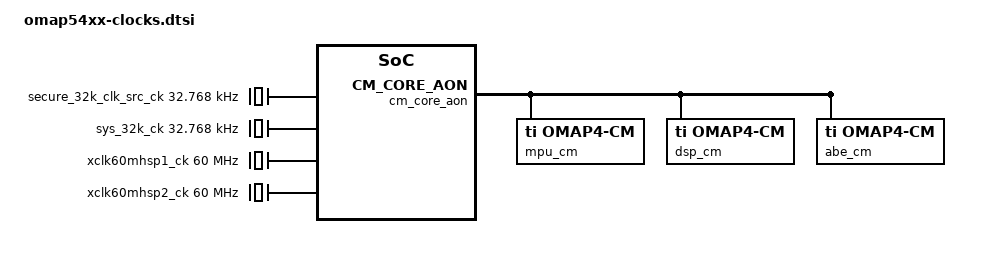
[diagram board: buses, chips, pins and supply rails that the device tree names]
/*
 * Device Tree Source for OMAP5 clock data
 *
 * Copyright (C) 2013 Texas Instruments, Inc.
 *
 * This program is free software; you can redistribute it and/or modify
 * it under the terms of the GNU General Public License version 2 as
 * published by the Free Software Foundation.
 */
&cm_core_aon_clocks {
	pad_clks_src_ck: pad_clks_src_ck {
		#clock-cells = <0>;
		compatible = "fixed-clock";
		clock-frequency = <12000000>;
	};

	pad_clks_ck: pad_clks_ck@108 {
		#clock-cells = <0>;
		compatible = "ti,gate-clock";
		clocks = <&pad_clks_src_ck>;
		ti,bit-shift = <8>;
		reg = <0x0108>;
	};

	secure_32k_clk_src_ck: secure_32k_clk_src_ck {
		#clock-cells = <0>;
		compatible = "fixed-clock";
		clock-frequency = <32768>;
	};

	slimbus_src_clk: slimbus_src_clk {
		#clock-cells = <0>;
		compatible = "fixed-clock";
		clock-frequency = <12000000>;
	};

	slimbus_clk: slimbus_clk@108 {
		#clock-cells = <0>;
		compatible = "ti,gate-clock";
		clocks = <&slimbus_src_clk>;
		ti,bit-shift = <10>;
		reg = <0x0108>;
	};

	sys_32k_ck: sys_32k_ck {
		#clock-cells = <0>;
		compatible = "fixed-clock";
		clock-frequency = <32768>;
	};

	virt_12000000_ck: virt_12000000_ck {
		#clock-cells = <0>;
		compatible = "fixed-clock";
		clock-frequency = <12000000>;
	};

	virt_13000000_ck: virt_13000000_ck {
		#clock-cells = <0>;
		compatible = "fixed-clock";
		clock-frequency = <13000000>;
	};

	virt_16800000_ck: virt_16800000_ck {
		#clock-cells = <0>;
		compatible = "fixed-clock";
		clock-frequency = <16800000>;
	};

	virt_19200000_ck: virt_19200000_ck {
		#clock-cells = <0>;
		compatible = "fixed-clock";
		clock-frequency = <19200000>;
	};

	virt_26000000_ck: virt_26000000_ck {
		#clock-cells = <0>;
		compatible = "fixed-clock";
		clock-frequency = <26000000>;
	};

	virt_27000000_ck: virt_27000000_ck {
		#clock-cells = <0>;
		compatible = "fixed-clock";
		clock-frequency = <27000000>;
	};

	virt_38400000_ck: virt_38400000_ck {
		#clock-cells = <0>;
		compatible = "fixed-clock";
		clock-frequency = <38400000>;
	};

	xclk60mhsp1_ck: xclk60mhsp1_ck {
		#clock-cells = <0>;
		compatible = "fixed-clock";
		clock-frequency = <60000000>;
	};

	xclk60mhsp2_ck: xclk60mhsp2_ck {
		#clock-cells = <0>;
		compatible = "fixed-clock";
		clock-frequency = <60000000>;
	};

	dpll_abe_ck: dpll_abe_ck@1e0 {
		#clock-cells = <0>;
		compatible = "ti,omap4-dpll-m4xen-clock";
		clocks = <&abe_dpll_clk_mux>, <&abe_dpll_bypass_clk_mux>;
		reg = <0x01e0>, <0x01e4>, <0x01ec>, <0x01e8>;
	};

	dpll_abe_x2_ck: dpll_abe_x2_ck {
		#clock-cells = <0>;
		compatible = "ti,omap4-dpll-x2-clock";
		clocks = <&dpll_abe_ck>;
	};

	dpll_abe_m2x2_ck: dpll_abe_m2x2_ck@1f0 {
		#clock-cells = <0>;
		compatible = "ti,divider-clock";
		clocks = <&dpll_abe_x2_ck>;
		ti,max-div = <31>;
		reg = <0x01f0>;
		ti,index-starts-at-one;
	};

	abe_24m_fclk: abe_24m_fclk {
		#clock-cells = <0>;
		compatible = "fixed-factor-clock";
		clocks = <&dpll_abe_m2x2_ck>;
		clock-mult = <1>;
		clock-div = <8>;
	};

	abe_clk: abe_clk@108 {
		#clock-cells = <0>;
		compatible = "ti,divider-clock";
		clocks = <&dpll_abe_m2x2_ck>;
		ti,max-div = <4>;
		reg = <0x0108>;
		ti,index-power-of-two;
	};

	abe_iclk: abe_iclk@528 {
		#clock-cells = <0>;
		compatible = "ti,divider-clock";
		clocks = <&aess_fclk>;
		ti,bit-shift = <24>;
		reg = <0x0528>;
		ti,dividers = <2>, <1>;
	};

	abe_lp_clk_div: abe_lp_clk_div {
		#clock-cells = <0>;
		compatible = "fixed-factor-clock";
		clocks = <&dpll_abe_m2x2_ck>;
		clock-mult = <1>;
		clock-div = <16>;
	};

	dpll_abe_m3x2_ck: dpll_abe_m3x2_ck@1f4 {
		#clock-cells = <0>;
		compatible = "ti,divider-clock";
		clocks = <&dpll_abe_x2_ck>;
		ti,max-div = <31>;
		reg = <0x01f4>;
		ti,index-starts-at-one;
	};

	dpll_core_byp_mux: dpll_core_byp_mux@12c {
		#clock-cells = <0>;
		compatible = "ti,mux-clock";
		clocks = <&sys_clkin>, <&dpll_abe_m3x2_ck>;
		ti,bit-shift = <23>;
		reg = <0x012c>;
	};

	dpll_core_ck: dpll_core_ck@120 {
		#clock-cells = <0>;
		compatible = "ti,omap4-dpll-core-clock";
		clocks = <&sys_clkin>, <&dpll_core_byp_mux>;
		reg = <0x0120>, <0x0124>, <0x012c>, <0x0128>;
	};

	dpll_core_x2_ck: dpll_core_x2_ck {
		#clock-cells = <0>;
		compatible = "ti,omap4-dpll-x2-clock";
		clocks = <&dpll_core_ck>;
	};

	dpll_core_h21x2_ck: dpll_core_h21x2_ck@150 {
		#clock-cells = <0>;
		compatible = "ti,divider-clock";
		clocks = <&dpll_core_x2_ck>;
		ti,max-div = <63>;
		reg = <0x0150>;
		ti,index-starts-at-one;
	};

	c2c_fclk: c2c_fclk {
		#clock-cells = <0>;
		compatible = "fixed-factor-clock";
		clocks = <&dpll_core_h21x2_ck>;
		clock-mult = <1>;
		clock-div = <1>;
	};

	c2c_iclk: c2c_iclk {
		#clock-cells = <0>;
		compatible = "fixed-factor-clock";
		clocks = <&c2c_fclk>;
		clock-mult = <1>;
		clock-div = <2>;
	};

	dpll_core_h11x2_ck: dpll_core_h11x2_ck@138 {
		#clock-cells = <0>;
		compatible = "ti,divider-clock";
		clocks = <&dpll_core_x2_ck>;
		ti,max-div = <63>;
		reg = <0x0138>;
		ti,index-starts-at-one;
	};

	dpll_core_h12x2_ck: dpll_core_h12x2_ck@13c {
		#clock-cells = <0>;
		compatible = "ti,divider-clock";
		clocks = <&dpll_core_x2_ck>;
		ti,max-div = <63>;
		reg = <0x013c>;
		ti,index-starts-at-one;
	};

	dpll_core_h13x2_ck: dpll_core_h13x2_ck@140 {
		#clock-cells = <0>;
		compatible = "ti,divider-clock";
		clocks = <&dpll_core_x2_ck>;
		ti,max-div = <63>;
		reg = <0x0140>;
		ti,index-starts-at-one;
	};

	dpll_core_h14x2_ck: dpll_core_h14x2_ck@144 {
		#clock-cells = <0>;
		compatible = "ti,divider-clock";
		clocks = <&dpll_core_x2_ck>;
		ti,max-div = <63>;
		reg = <0x0144>;
		ti,index-starts-at-one;
	};

	dpll_core_h22x2_ck: dpll_core_h22x2_ck@154 {
		#clock-cells = <0>;
		compatible = "ti,divider-clock";
		clocks = <&dpll_core_x2_ck>;
		ti,max-div = <63>;
		reg = <0x0154>;
		ti,index-starts-at-one;
	};

	dpll_core_h23x2_ck: dpll_core_h23x2_ck@158 {
		#clock-cells = <0>;
		compatible = "ti,divider-clock";
		clocks = <&dpll_core_x2_ck>;
		ti,max-div = <63>;
		reg = <0x0158>;
		ti,index-starts-at-one;
	};

	dpll_core_h24x2_ck: dpll_core_h24x2_ck@15c {
		#clock-cells = <0>;
		compatible = "ti,divider-clock";
		clocks = <&dpll_core_x2_ck>;
		ti,max-div = <63>;
		reg = <0x015c>;
		ti,index-starts-at-one;
	};

	dpll_core_m2_ck: dpll_core_m2_ck@130 {
		#clock-cells = <0>;
		compatible = "ti,divider-clock";
		clocks = <&dpll_core_ck>;
		ti,max-div = <31>;
		reg = <0x0130>;
		ti,index-starts-at-one;
	};

	dpll_core_m3x2_ck: dpll_core_m3x2_ck@134 {
		#clock-cells = <0>;
		compatible = "ti,divider-clock";
		clocks = <&dpll_core_x2_ck>;
		ti,max-div = <31>;
		reg = <0x0134>;
		ti,index-starts-at-one;
	};

	iva_dpll_hs_clk_div: iva_dpll_hs_clk_div {
		#clock-cells = <0>;
		compatible = "fixed-factor-clock";
		clocks = <&dpll_core_h12x2_ck>;
		clock-mult = <1>;
		clock-div = <1>;
	};

	dpll_iva_byp_mux: dpll_iva_byp_mux@1ac {
		#clock-cells = <0>;
		compatible = "ti,mux-clock";
		clocks = <&sys_clkin>, <&iva_dpll_hs_clk_div>;
		ti,bit-shift = <23>;
		reg = <0x01ac>;
	};

	dpll_iva_ck: dpll_iva_ck@1a0 {
		#clock-cells = <0>;
		compatible = "ti,omap4-dpll-clock";
		clocks = <&sys_clkin>, <&dpll_iva_byp_mux>;
		reg = <0x01a0>, <0x01a4>, <0x01ac>, <0x01a8>;
		assigned-clocks = <&dpll_iva_ck>;
		assigned-clock-rates = <1165000000>;
	};

	dpll_iva_x2_ck: dpll_iva_x2_ck {
		#clock-cells = <0>;
		compatible = "ti,omap4-dpll-x2-clock";
		clocks = <&dpll_iva_ck>;
	};

	dpll_iva_h11x2_ck: dpll_iva_h11x2_ck@1b8 {
		#clock-cells = <0>;
		compatible = "ti,divider-clock";
		clocks = <&dpll_iva_x2_ck>;
		ti,max-div = <63>;
		reg = <0x01b8>;
		ti,index-starts-at-one;
		assigned-clocks = <&dpll_iva_h11x2_ck>;
		assigned-clock-rates = <465920000>;
	};

	dpll_iva_h12x2_ck: dpll_iva_h12x2_ck@1bc {
		#clock-cells = <0>;
		compatible = "ti,divider-clock";
		clocks = <&dpll_iva_x2_ck>;
		ti,max-div = <63>;
		reg = <0x01bc>;
		ti,index-starts-at-one;
		assigned-clocks = <&dpll_iva_h12x2_ck>;
		assigned-clock-rates = <388300000>;
	};

	mpu_dpll_hs_clk_div: mpu_dpll_hs_clk_div {
		#clock-cells = <0>;
		compatible = "fixed-factor-clock";
		clocks = <&dpll_core_h12x2_ck>;
		clock-mult = <1>;
		clock-div = <1>;
	};

	dpll_mpu_ck: dpll_mpu_ck@160 {
		#clock-cells = <0>;
		compatible = "ti,omap5-mpu-dpll-clock";
		clocks = <&sys_clkin>, <&mpu_dpll_hs_clk_div>;
		reg = <0x0160>, <0x0164>, <0x016c>, <0x0168>;
	};

	dpll_mpu_m2_ck: dpll_mpu_m2_ck@170 {
		#clock-cells = <0>;
		compatible = "ti,divider-clock";
		clocks = <&dpll_mpu_ck>;
		ti,max-div = <31>;
		reg = <0x0170>;
		ti,index-starts-at-one;
	};

	per_dpll_hs_clk_div: per_dpll_hs_clk_div {
		#clock-cells = <0>;
		compatible = "fixed-factor-clock";
		clocks = <&dpll_abe_m3x2_ck>;
		clock-mult = <1>;
		clock-div = <2>;
	};

	usb_dpll_hs_clk_div: usb_dpll_hs_clk_div {
		#clock-cells = <0>;
		compatible = "fixed-factor-clock";
		clocks = <&dpll_abe_m3x2_ck>;
		clock-mult = <1>;
		clock-div = <3>;
	};

	l3_iclk_div: l3_iclk_div@100 {
		#clock-cells = <0>;
		compatible = "ti,divider-clock";
		ti,max-div = <2>;
		ti,bit-shift = <4>;
		reg = <0x100>;
		clocks = <&dpll_core_h12x2_ck>;
		ti,index-power-of-two;
	};

	gpu_l3_iclk: gpu_l3_iclk {
		#clock-cells = <0>;
		compatible = "fixed-factor-clock";
		clocks = <&l3_iclk_div>;
		clock-mult = <1>;
		clock-div = <1>;
	};

	l4_root_clk_div: l4_root_clk_div@100 {
		#clock-cells = <0>;
		compatible = "ti,divider-clock";
		ti,max-div = <2>;
		ti,bit-shift = <8>;
		reg = <0x100>;
		clocks = <&l3_iclk_div>;
		ti,index-power-of-two;
	};

	slimbus1_slimbus_clk: slimbus1_slimbus_clk@560 {
		#clock-cells = <0>;
		compatible = "ti,gate-clock";
		clocks = <&slimbus_clk>;
		ti,bit-shift = <11>;
		reg = <0x0560>;
	};

	aess_fclk: aess_fclk@528 {
		#clock-cells = <0>;
		compatible = "ti,divider-clock";
		clocks = <&abe_clk>;
		ti,bit-shift = <24>;
		ti,max-div = <2>;
		reg = <0x0528>;
	};

	mcasp_sync_mux_ck: mcasp_sync_mux_ck@540 {
		#clock-cells = <0>;
		compatible = "ti,mux-clock";
		clocks = <&abe_24m_fclk>, <&dss_syc_gfclk_div>, <&func_24m_clk>;
		ti,bit-shift = <26>;
		reg = <0x0540>;
	};

	mcasp_gfclk: mcasp_gfclk@540 {
		#clock-cells = <0>;
		compatible = "ti,mux-clock";
		clocks = <&mcasp_sync_mux_ck>, <&pad_clks_ck>, <&slimbus_clk>;
		ti,bit-shift = <24>;
		reg = <0x0540>;
	};

	dummy_ck: dummy_ck {
		#clock-cells = <0>;
		compatible = "fixed-clock";
		clock-frequency = <0>;
	};
};
&prm_clocks {
	sys_clkin: sys_clkin@110 {
		#clock-cells = <0>;
		compatible = "ti,mux-clock";
		clocks = <&virt_12000000_ck>, <&virt_13000000_ck>, <&virt_16800000_ck>, <&virt_19200000_ck>, <&virt_26000000_ck>, <&virt_27000000_ck>, <&virt_38400000_ck>;
		reg = <0x0110>;
		ti,index-starts-at-one;
	};

	abe_dpll_bypass_clk_mux: abe_dpll_bypass_clk_mux@108 {
		#clock-cells = <0>;
		compatible = "ti,mux-clock";
		clocks = <&sys_clkin>, <&sys_32k_ck>;
		reg = <0x0108>;
	};

	abe_dpll_clk_mux: abe_dpll_clk_mux@10c {
		#clock-cells = <0>;
		compatible = "ti,mux-clock";
		clocks = <&sys_clkin>, <&sys_32k_ck>;
		reg = <0x010c>;
	};

	custefuse_sys_gfclk_div: custefuse_sys_gfclk_div {
		#clock-cells = <0>;
		compatible = "fixed-factor-clock";
		clocks = <&sys_clkin>;
		clock-mult = <1>;
		clock-div = <2>;
	};

	dss_syc_gfclk_div: dss_syc_gfclk_div {
		#clock-cells = <0>;
		compatible = "fixed-factor-clock";
		clocks = <&sys_clkin>;
		clock-mult = <1>;
		clock-div = <1>;
	};

	wkupaon_iclk_mux: wkupaon_iclk_mux@108 {
		#clock-cells = <0>;
		compatible = "ti,mux-clock";
		clocks = <&sys_clkin>, <&abe_lp_clk_div>;
		reg = <0x0108>;
	};

	l3instr_ts_gclk_div: l3instr_ts_gclk_div {
		#clock-cells = <0>;
		compatible = "fixed-factor-clock";
		clocks = <&wkupaon_iclk_mux>;
		clock-mult = <1>;
		clock-div = <1>;
	};
};

&cm_core_clocks {

	dpll_per_byp_mux: dpll_per_byp_mux@14c {
		#clock-cells = <0>;
		compatible = "ti,mux-clock";
		clocks = <&sys_clkin>, <&per_dpll_hs_clk_div>;
		ti,bit-shift = <23>;
		reg = <0x014c>;
	};

	dpll_per_ck: dpll_per_ck@140 {
		#clock-cells = <0>;
		compatible = "ti,omap4-dpll-clock";
		clocks = <&sys_clkin>, <&dpll_per_byp_mux>;
		reg = <0x0140>, <0x0144>, <0x014c>, <0x0148>;
	};

	dpll_per_x2_ck: dpll_per_x2_ck {
		#clock-cells = <0>;
		compatible = "ti,omap4-dpll-x2-clock";
		clocks = <&dpll_per_ck>;
	};

	dpll_per_h11x2_ck: dpll_per_h11x2_ck@158 {
		#clock-cells = <0>;
		compatible = "ti,divider-clock";
		clocks = <&dpll_per_x2_ck>;
		ti,max-div = <63>;
		reg = <0x0158>;
		ti,index-starts-at-one;
	};

	dpll_per_h12x2_ck: dpll_per_h12x2_ck@15c {
		#clock-cells = <0>;
		compatible = "ti,divider-clock";
		clocks = <&dpll_per_x2_ck>;
		ti,max-div = <63>;
		reg = <0x015c>;
		ti,index-starts-at-one;
	};

	dpll_per_h14x2_ck: dpll_per_h14x2_ck@164 {
		#clock-cells = <0>;
		compatible = "ti,divider-clock";
		clocks = <&dpll_per_x2_ck>;
		ti,max-div = <63>;
		reg = <0x0164>;
		ti,index-starts-at-one;
	};

	dpll_per_m2_ck: dpll_per_m2_ck@150 {
		#clock-cells = <0>;
		compatible = "ti,divider-clock";
		clocks = <&dpll_per_ck>;
		ti,max-div = <31>;
		reg = <0x0150>;
		ti,index-starts-at-one;
	};

	dpll_per_m2x2_ck: dpll_per_m2x2_ck@150 {
		#clock-cells = <0>;
		compatible = "ti,divider-clock";
		clocks = <&dpll_per_x2_ck>;
		ti,max-div = <31>;
		reg = <0x0150>;
		ti,index-starts-at-one;
	};

	dpll_per_m3x2_ck: dpll_per_m3x2_ck@154 {
		#clock-cells = <0>;
		compatible = "ti,divider-clock";
		clocks = <&dpll_per_x2_ck>;
		ti,max-div = <31>;
		reg = <0x0154>;
		ti,index-starts-at-one;
	};

	dpll_unipro1_ck: dpll_unipro1_ck@200 {
		#clock-cells = <0>;
		compatible = "ti,omap4-dpll-clock";
		clocks = <&sys_clkin>, <&sys_clkin>;
		reg = <0x0200>, <0x0204>, <0x020c>, <0x0208>;
	};

	dpll_unipro1_clkdcoldo: dpll_unipro1_clkdcoldo {
		#clock-cells = <0>;
		compatible = "fixed-factor-clock";
		clocks = <&dpll_unipro1_ck>;
		clock-mult = <1>;
		clock-div = <1>;
	};

	dpll_unipro1_m2_ck: dpll_unipro1_m2_ck@210 {
		#clock-cells = <0>;
		compatible = "ti,divider-clock";
		clocks = <&dpll_unipro1_ck>;
		ti,max-div = <127>;
		reg = <0x0210>;
		ti,index-starts-at-one;
	};

	dpll_unipro2_ck: dpll_unipro2_ck@1c0 {
		#clock-cells = <0>;
		compatible = "ti,omap4-dpll-clock";
		clocks = <&sys_clkin>, <&sys_clkin>;
		reg = <0x01c0>, <0x01c4>, <0x01cc>, <0x01c8>;
	};

	dpll_unipro2_clkdcoldo: dpll_unipro2_clkdcoldo {
		#clock-cells = <0>;
		compatible = "fixed-factor-clock";
		clocks = <&dpll_unipro2_ck>;
		clock-mult = <1>;
		clock-div = <1>;
	};

	dpll_unipro2_m2_ck: dpll_unipro2_m2_ck@1d0 {
		#clock-cells = <0>;
		compatible = "ti,divider-clock";
		clocks = <&dpll_unipro2_ck>;
		ti,max-div = <127>;
		reg = <0x01d0>;
		ti,index-starts-at-one;
	};

	dpll_usb_byp_mux: dpll_usb_byp_mux@18c {
		#clock-cells = <0>;
		compatible = "ti,mux-clock";
		clocks = <&sys_clkin>, <&usb_dpll_hs_clk_div>;
		ti,bit-shift = <23>;
		reg = <0x018c>;
	};

	dpll_usb_ck: dpll_usb_ck@180 {
		#clock-cells = <0>;
		compatible = "ti,omap4-dpll-j-type-clock";
		clocks = <&sys_clkin>, <&dpll_usb_byp_mux>;
		reg = <0x0180>, <0x0184>, <0x018c>, <0x0188>;
	};

	dpll_usb_clkdcoldo: dpll_usb_clkdcoldo {
		#clock-cells = <0>;
		compatible = "fixed-factor-clock";
		clocks = <&dpll_usb_ck>;
		clock-mult = <1>;
		clock-div = <1>;
	};

	dpll_usb_m2_ck: dpll_usb_m2_ck@190 {
		#clock-cells = <0>;
		compatible = "ti,divider-clock";
		clocks = <&dpll_usb_ck>;
		ti,max-div = <127>;
		reg = <0x0190>;
		ti,index-starts-at-one;
	};

	func_128m_clk: func_128m_clk {
		#clock-cells = <0>;
		compatible = "fixed-factor-clock";
		clocks = <&dpll_per_h11x2_ck>;
		clock-mult = <1>;
		clock-div = <2>;
	};

	func_12m_fclk: func_12m_fclk {
		#clock-cells = <0>;
		compatible = "fixed-factor-clock";
		clocks = <&dpll_per_m2x2_ck>;
		clock-mult = <1>;
		clock-div = <16>;
	};

	func_24m_clk: func_24m_clk {
		#clock-cells = <0>;
		compatible = "fixed-factor-clock";
		clocks = <&dpll_per_m2_ck>;
		clock-mult = <1>;
		clock-div = <4>;
	};

	func_48m_fclk: func_48m_fclk {
		#clock-cells = <0>;
		compatible = "fixed-factor-clock";
		clocks = <&dpll_per_m2x2_ck>;
		clock-mult = <1>;
		clock-div = <4>;
	};

	func_96m_fclk: func_96m_fclk {
		#clock-cells = <0>;
		compatible = "fixed-factor-clock";
		clocks = <&dpll_per_m2x2_ck>;
		clock-mult = <1>;
		clock-div = <2>;
	};

	l3init_60m_fclk: l3init_60m_fclk@104 {
		#clock-cells = <0>;
		compatible = "ti,divider-clock";
		clocks = <&dpll_usb_m2_ck>;
		reg = <0x0104>;
		ti,dividers = <1>, <8>;
	};

	iss_ctrlclk: iss_ctrlclk@1320 {
		#clock-cells = <0>;
		compatible = "ti,gate-clock";
		clocks = <&func_96m_fclk>;
		ti,bit-shift = <8>;
		reg = <0x1320>;
	};

	lli_txphy_clk: lli_txphy_clk@f20 {
		#clock-cells = <0>;
		compatible = "ti,gate-clock";
		clocks = <&dpll_unipro1_clkdcoldo>;
		ti,bit-shift = <8>;
		reg = <0x0f20>;
	};

	lli_txphy_ls_clk: lli_txphy_ls_clk@f20 {
		#clock-cells = <0>;
		compatible = "ti,gate-clock";
		clocks = <&dpll_unipro1_m2_ck>;
		ti,bit-shift = <9>;
		reg = <0x0f20>;
	};

	usb_phy_cm_clk32k: usb_phy_cm_clk32k@640 {
		#clock-cells = <0>;
		compatible = "ti,gate-clock";
		clocks = <&sys_32k_ck>;
		ti,bit-shift = <8>;
		reg = <0x0640>;
	};

	fdif_fclk: fdif_fclk@1328 {
		#clock-cells = <0>;
		compatible = "ti,divider-clock";
		clocks = <&dpll_per_h11x2_ck>;
		ti,bit-shift = <24>;
		ti,max-div = <2>;
		reg = <0x1328>;
	};

	gpu_core_gclk_mux: gpu_core_gclk_mux@1520 {
		#clock-cells = <0>;
		compatible = "ti,mux-clock";
		clocks = <&dpll_core_h14x2_ck>, <&dpll_per_h14x2_ck>;
		ti,bit-shift = <24>;
		reg = <0x1520>;
	};

	gpu_hyd_gclk_mux: gpu_hyd_gclk_mux@1520 {
		#clock-cells = <0>;
		compatible = "ti,mux-clock";
		clocks = <&dpll_core_h14x2_ck>, <&dpll_per_h14x2_ck>;
		ti,bit-shift = <25>;
		reg = <0x1520>;
	};

	hsi_fclk: hsi_fclk@1638 {
		#clock-cells = <0>;
		compatible = "ti,divider-clock";
		clocks = <&dpll_per_m2x2_ck>;
		ti,bit-shift = <24>;
		ti,max-div = <2>;
		reg = <0x1638>;
	};
};

&cm_core_clockdomains {
	l3init_clkdm: l3init_clkdm {
		compatible = "ti,clockdomain";
		clocks = <&dpll_usb_ck>;
	};
};

&scrm_clocks {
	auxclk0_src_gate_ck: auxclk0_src_gate_ck@310 {
		#clock-cells = <0>;
		compatible = "ti,composite-no-wait-gate-clock";
		clocks = <&dpll_core_m3x2_ck>;
		ti,bit-shift = <8>;
		reg = <0x0310>;
	};

	auxclk0_src_mux_ck: auxclk0_src_mux_ck@310 {
		#clock-cells = <0>;
		compatible = "ti,composite-mux-clock";
		clocks = <&sys_clkin>, <&dpll_core_m3x2_ck>, <&dpll_per_m3x2_ck>;
		ti,bit-shift = <1>;
		reg = <0x0310>;
	};

	auxclk0_src_ck: auxclk0_src_ck {
		#clock-cells = <0>;
		compatible = "ti,composite-clock";
		clocks = <&auxclk0_src_gate_ck>, <&auxclk0_src_mux_ck>;
	};

	auxclk0_ck: auxclk0_ck@310 {
		#clock-cells = <0>;
		compatible = "ti,divider-clock";
		clocks = <&auxclk0_src_ck>;
		ti,bit-shift = <16>;
		ti,max-div = <16>;
		reg = <0x0310>;
	};

	auxclk1_src_gate_ck: auxclk1_src_gate_ck@314 {
		#clock-cells = <0>;
		compatible = "ti,composite-no-wait-gate-clock";
		clocks = <&dpll_core_m3x2_ck>;
		ti,bit-shift = <8>;
		reg = <0x0314>;
	};

	auxclk1_src_mux_ck: auxclk1_src_mux_ck@314 {
		#clock-cells = <0>;
		compatible = "ti,composite-mux-clock";
		clocks = <&sys_clkin>, <&dpll_core_m3x2_ck>, <&dpll_per_m3x2_ck>;
		ti,bit-shift = <1>;
		reg = <0x0314>;
	};

	auxclk1_src_ck: auxclk1_src_ck {
		#clock-cells = <0>;
		compatible = "ti,composite-clock";
		clocks = <&auxclk1_src_gate_ck>, <&auxclk1_src_mux_ck>;
	};

	auxclk1_ck: auxclk1_ck@314 {
		#clock-cells = <0>;
		compatible = "ti,divider-clock";
		clocks = <&auxclk1_src_ck>;
		ti,bit-shift = <16>;
		ti,max-div = <16>;
		reg = <0x0314>;
	};

	auxclk2_src_gate_ck: auxclk2_src_gate_ck@318 {
		#clock-cells = <0>;
		compatible = "ti,composite-no-wait-gate-clock";
		clocks = <&dpll_core_m3x2_ck>;
		ti,bit-shift = <8>;
		reg = <0x0318>;
	};

	auxclk2_src_mux_ck: auxclk2_src_mux_ck@318 {
		#clock-cells = <0>;
		compatible = "ti,composite-mux-clock";
		clocks = <&sys_clkin>, <&dpll_core_m3x2_ck>, <&dpll_per_m3x2_ck>;
		ti,bit-shift = <1>;
		reg = <0x0318>;
	};

	auxclk2_src_ck: auxclk2_src_ck {
		#clock-cells = <0>;
		compatible = "ti,composite-clock";
		clocks = <&auxclk2_src_gate_ck>, <&auxclk2_src_mux_ck>;
	};

	auxclk2_ck: auxclk2_ck@318 {
		#clock-cells = <0>;
		compatible = "ti,divider-clock";
		clocks = <&auxclk2_src_ck>;
		ti,bit-shift = <16>;
		ti,max-div = <16>;
		reg = <0x0318>;
	};

	auxclk3_src_gate_ck: auxclk3_src_gate_ck@31c {
		#clock-cells = <0>;
		compatible = "ti,composite-no-wait-gate-clock";
		clocks = <&dpll_core_m3x2_ck>;
		ti,bit-shift = <8>;
		reg = <0x031c>;
	};

	auxclk3_src_mux_ck: auxclk3_src_mux_ck@31c {
		#clock-cells = <0>;
		compatible = "ti,composite-mux-clock";
		clocks = <&sys_clkin>, <&dpll_core_m3x2_ck>, <&dpll_per_m3x2_ck>;
		ti,bit-shift = <1>;
		reg = <0x031c>;
	};

	auxclk3_src_ck: auxclk3_src_ck {
		#clock-cells = <0>;
		compatible = "ti,composite-clock";
		clocks = <&auxclk3_src_gate_ck>, <&auxclk3_src_mux_ck>;
	};

	auxclk3_ck: auxclk3_ck@31c {
		#clock-cells = <0>;
		compatible = "ti,divider-clock";
		clocks = <&auxclk3_src_ck>;
		ti,bit-shift = <16>;
		ti,max-div = <16>;
		reg = <0x031c>;
	};

	auxclk4_src_gate_ck: auxclk4_src_gate_ck@320 {
		#clock-cells = <0>;
		compatible = "ti,composite-no-wait-gate-clock";
		clocks = <&dpll_core_m3x2_ck>;
		ti,bit-shift = <8>;
		reg = <0x0320>;
	};

	auxclk4_src_mux_ck: auxclk4_src_mux_ck@320 {
		#clock-cells = <0>;
		compatible = "ti,composite-mux-clock";
		clocks = <&sys_clkin>, <&dpll_core_m3x2_ck>, <&dpll_per_m3x2_ck>;
		ti,bit-shift = <1>;
		reg = <0x0320>;
	};

	auxclk4_src_ck: auxclk4_src_ck {
		#clock-cells = <0>;
		compatible = "ti,composite-clock";
		clocks = <&auxclk4_src_gate_ck>, <&auxclk4_src_mux_ck>;
	};

	auxclk4_ck: auxclk4_ck@320 {
		#clock-cells = <0>;
		compatible = "ti,divider-clock";
		clocks = <&auxclk4_src_ck>;
		ti,bit-shift = <16>;
		ti,max-div = <16>;
		reg = <0x0320>;
	};

	auxclkreq0_ck: auxclkreq0_ck@210 {
		#clock-cells = <0>;
		compatible = "ti,mux-clock";
		clocks = <&auxclk0_ck>, <&auxclk1_ck>, <&auxclk2_ck>, <&auxclk3_ck>, <&auxclk4_ck>;
		ti,bit-shift = <2>;
		reg = <0x0210>;
	};

	auxclkreq1_ck: auxclkreq1_ck@214 {
		#clock-cells = <0>;
		compatible = "ti,mux-clock";
		clocks = <&auxclk0_ck>, <&auxclk1_ck>, <&auxclk2_ck>, <&auxclk3_ck>, <&auxclk4_ck>;
		ti,bit-shift = <2>;
		reg = <0x0214>;
	};

	auxclkreq2_ck: auxclkreq2_ck@218 {
		#clock-cells = <0>;
		compatible = "ti,mux-clock";
		clocks = <&auxclk0_ck>, <&auxclk1_ck>, <&auxclk2_ck>, <&auxclk3_ck>, <&auxclk4_ck>;
		ti,bit-shift = <2>;
		reg = <0x0218>;
	};

	auxclkreq3_ck: auxclkreq3_ck@21c {
		#clock-cells = <0>;
		compatible = "ti,mux-clock";
		clocks = <&auxclk0_ck>, <&auxclk1_ck>, <&auxclk2_ck>, <&auxclk3_ck>, <&auxclk4_ck>;
		ti,bit-shift = <2>;
		reg = <0x021c>;
	};
};

&cm_core_aon {
	mpu_cm: mpu_cm@300 {
		compatible = "ti,omap4-cm";
		reg = <0x300 0x100>;
		#address-cells = <1>;
		#size-cells = <1>;
		ranges = <0 0x300 0x100>;

		mpu_clkctrl: clk@20 {
			compatible = "ti,clkctrl";
			reg = <0x20 0x4>;
			#clock-cells = <2>;
		};
	};

	dsp_cm: dsp_cm@400 {
		compatible = "ti,omap4-cm";
		reg = <0x400 0x100>;
		#address-cells = <1>;
		#size-cells = <1>;
		ranges = <0 0x400 0x100>;

		dsp_clkctrl: clk@20 {
			compatible = "ti,clkctrl";
			reg = <0x20 0x4>;
			#clock-cells = <2>;
		};
	};

	abe_cm: abe_cm@500 {
		compatible = "ti,omap4-cm";
		reg = <0x500 0x100>;
		#address-cells = <1>;
		#size-cells = <1>;
		ranges = <0 0x500 0x100>;

		abe_clkctrl: clk@20 {
			compatible = "ti,clkctrl";
			reg = <0x20 0x64>;
			#clock-cells = <2>;
		};
	};

};

&cm_core {
	l3main1_cm: l3main1_cm@700 {
		compatible = "ti,omap4-cm";
		reg = <0x700 0x100>;
		#address-cells = <1>;
		#size-cells = <1>;
		ranges = <0 0x700 0x100>;

		l3main1_clkctrl: clk@20 {
			compatible = "ti,clkctrl";
			reg = <0x20 0x4>;
			#clock-cells = <2>;
		};
	};

	l3main2_cm: l3main2_cm@800 {
		compatible = "ti,omap4-cm";
		reg = <0x800 0x100>;
		#address-cells = <1>;
		#size-cells = <1>;
		ranges = <0 0x800 0x100>;

		l3main2_clkctrl: clk@20 {
			compatible = "ti,clkctrl";
			reg = <0x20 0x4>;
			#clock-cells = <2>;
		};
	};

	ipu_cm: ipu_cm@900 {
		compatible = "ti,omap4-cm";
		reg = <0x900 0x100>;
		#address-cells = <1>;
		#size-cells = <1>;
		ranges = <0 0x900 0x100>;

		ipu_clkctrl: clk@20 {
			compatible = "ti,clkctrl";
			reg = <0x20 0x4>;
			#clock-cells = <2>;
		};
	};

	dma_cm: dma_cm@a00 {
		compatible = "ti,omap4-cm";
		reg = <0xa00 0x100>;
		#address-cells = <1>;
		#size-cells = <1>;
		ranges = <0 0xa00 0x100>;

		dma_clkctrl: clk@20 {
			compatible = "ti,clkctrl";
			reg = <0x20 0x4>;
			#clock-cells = <2>;
		};
	};

	emif_cm: emif_cm@b00 {
		compatible = "ti,omap4-cm";
		reg = <0xb00 0x100>;
		#address-cells = <1>;
		#size-cells = <1>;
		ranges = <0 0xb00 0x100>;

		emif_clkctrl: clk@20 {
			compatible = "ti,clkctrl";
			reg = <0x20 0x1c>;
			#clock-cells = <2>;
		};
	};

	l4cfg_cm: l4cfg_cm@d00 {
		compatible = "ti,omap4-cm";
		reg = <0xd00 0x100>;
		#address-cells = <1>;
		#size-cells = <1>;
		ranges = <0 0xd00 0x100>;

		l4cfg_clkctrl: clk@20 {
			compatible = "ti,clkctrl";
			reg = <0x20 0x14>;
			#clock-cells = <2>;
		};
	};

	l3instr_cm: l3instr_cm@e00 {
		compatible = "ti,omap4-cm";
		reg = <0xe00 0x100>;
		#address-cells = <1>;
		#size-cells = <1>;
		ranges = <0 0xe00 0x100>;

		l3instr_clkctrl: clk@20 {
			compatible = "ti,clkctrl";
			reg = <0x20 0xc>;
			#clock-cells = <2>;
		};
	};

	l4per_cm: l4per_cm@1000 {
		compatible = "ti,omap4-cm";
		reg = <0x1000 0x200>;
		#address-cells = <1>;
		#size-cells = <1>;
		ranges = <0 0x1000 0x200>;

		l4per_clkctrl: clk@20 {
			compatible = "ti,clkctrl";
			reg = <0x20 0x15c>;
			#clock-cells = <2>;
		};
	};

	dss_cm: dss_cm@1400 {
		compatible = "ti,omap4-cm";
		reg = <0x1400 0x100>;
		#address-cells = <1>;
		#size-cells = <1>;
		ranges = <0 0x1400 0x100>;

		dss_clkctrl: clk@20 {
			compatible = "ti,clkctrl";
			reg = <0x20 0x4>;
			#clock-cells = <2>;
		};
	};

	l3init_cm: l3init_cm@1600 {
		compatible = "ti,omap4-cm";
		reg = <0x1600 0x100>;
		#address-cells = <1>;
		#size-cells = <1>;
		ranges = <0 0x1600 0x100>;

		l3init_clkctrl: clk@20 {
			compatible = "ti,clkctrl";
			reg = <0x20 0xd4>;
			#clock-cells = <2>;
		};
	};
};

&prm {
	wkupaon_cm: wkupaon_cm@1900 {
		compatible = "ti,omap4-cm";
		reg = <0x1900 0x100>;
		#address-cells = <1>;
		#size-cells = <1>;
		ranges = <0 0x1900 0x100>;

		wkupaon_clkctrl: clk@20 {
			compatible = "ti,clkctrl";
			reg = <0x20 0x5c>;
			#clock-cells = <2>;
		};
	};
};

&scm_wkup_pad_conf_clocks {
	fref_xtal_ck: fref_xtal_ck {
		#clock-cells = <0>;
		compatible = "ti,gate-clock";
		clocks = <&sys_clkin>;
		ti,bit-shift = <28>;
		reg = <0x14>;
	};
};
